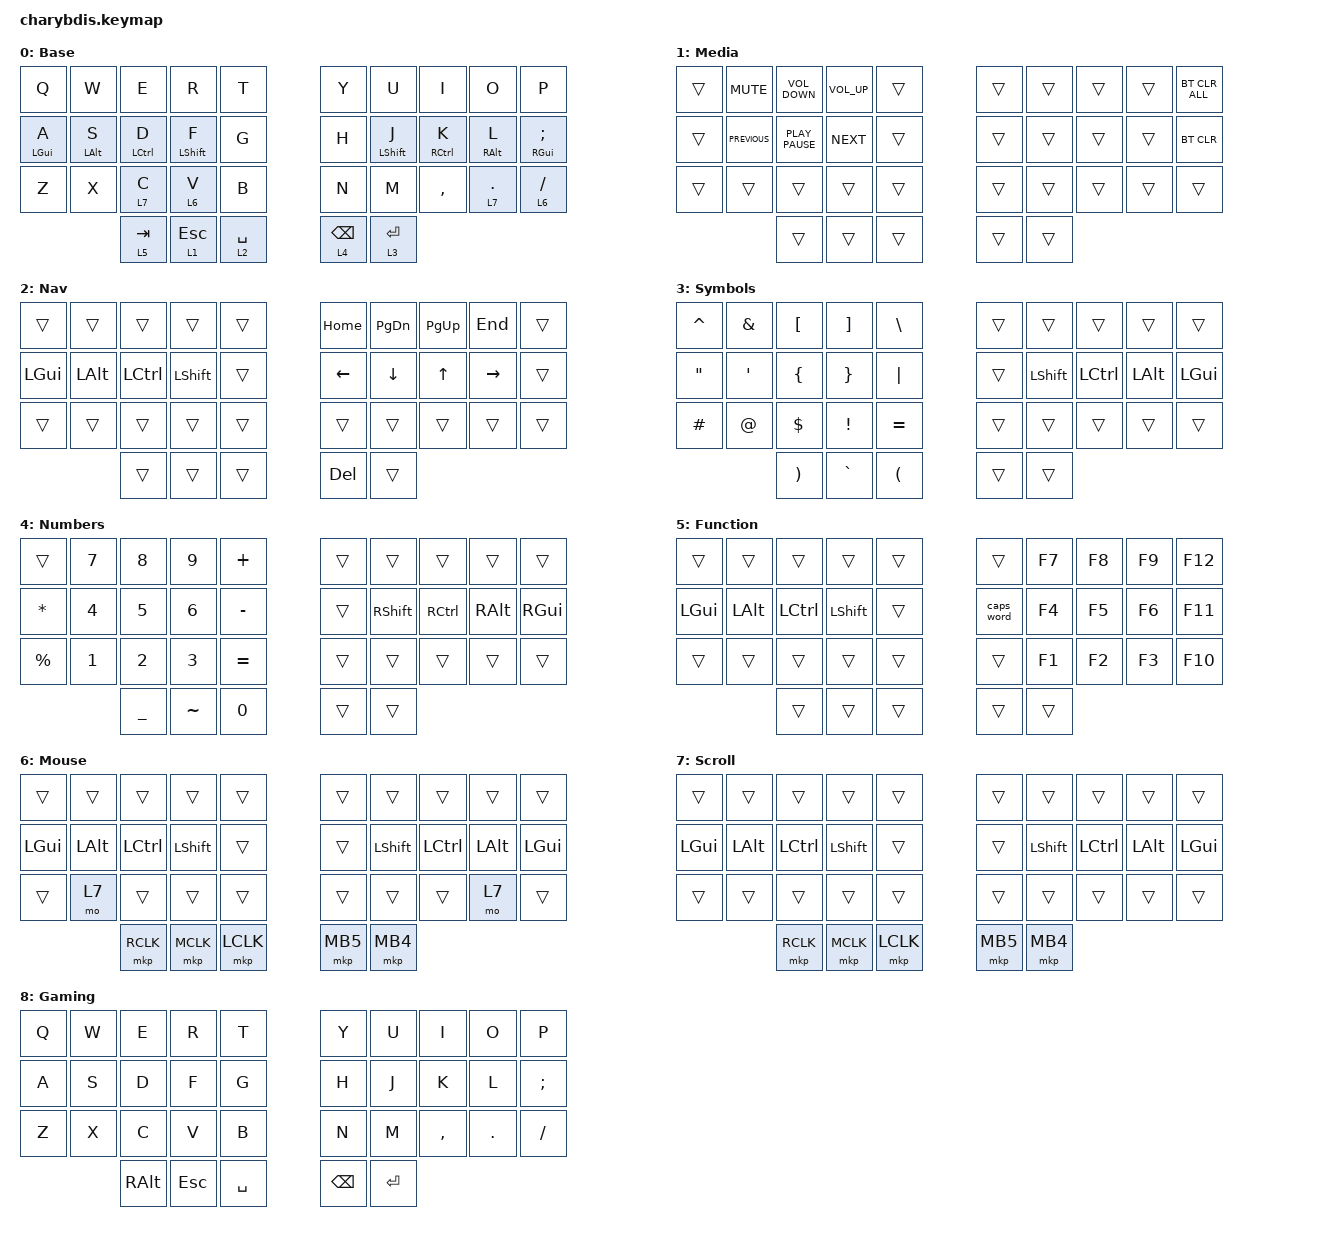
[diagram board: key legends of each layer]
#include <dt-bindings/zmk/mouse.h>
#include <behaviors/mouse_keys.dtsi>
#include <behaviors.dtsi>
#include <dt-bindings/zmk/bt.h>
#include <dt-bindings/zmk/keys.h>
#include <dt-bindings/zmk/pointing.h>

/ {
    chosen { zmk,physical-layout = &charybdis_6col_layout; };
};

&mt {
    quick-tap-ms = <200>;
    flavor = "tap-preferred";
    tapping-term-ms = <170>;
};

&lt {
    quick-tap-ms = <200>;
    flavor = "tap-preferred";
    tapping-term-ms = <170>;
};

// Layer definitions

#undef SYMBOLS
#undef SCROLL

#define BASE 0
#define MEDIA 1
#define NAV 2
#define SYMBOLS 3
#define NUMBERS 4
#define FUNCTION 5
#define MOUSE 6
#define SCROLL 7

/ {
    behaviors {
        // Hold-tap behavior for layer with tap-preferred

        blt: blt {
            compatible = "zmk,behavior-hold-tap";
            #binding-cells = <2>;
            flavor = "tap-preferred";
            tapping-term-ms = <200>;
            quick-tap-ms = <300>;
            require-prior-idle-ms = <100>;
            bindings = <&mo>, <&kp>;
        };

        // Tap-dance for GUI/Ctrl+B

        gui_ctrlb: gui_ctrlb {
            compatible = "zmk,behavior-tap-dance";
            #binding-cells = <0>;
            tapping-term-ms = <200>;
            bindings = <&kp LGUI>, <&kp LC(B)>;
        };

        // Tap/hold Alt, double-tap Ctrl+Shift+Z

        lalt_dt: lalt_dt {
            compatible = "zmk,behavior-tap-dance";
            #binding-cells = <0>;
            tapping-term-ms = <200>;
            bindings = <&kp LALT>, <&kp LC(LS(Z))>;
        };

        hml: home_row_mod_left {
            compatible = "zmk,behavior-hold-tap";
            #binding-cells = <2>;
            flavor = "balanced";
            require-prior-idle-ms = <150>;
            tapping-term-ms = <280>;
            quick-tap-ms = <175>;
            bindings = <&kp>, <&kp>;

            hold-trigger-key-positions = <5 6 7 8 9 15 16 17 18 19 25 26 27 28 29 33 34>;
            hold-trigger-on-release;
        };

        hmr: home_row_mod_right {
            compatible = "zmk,behavior-hold-tap";
            #binding-cells = <2>;
            flavor = "balanced";
            require-prior-idle-ms = <150>;
            tapping-term-ms = <280>;
            quick-tap-ms = <175>;
            bindings = <&kp>, <&kp>;

            hold-trigger-key-positions = <0 1 2 3 4 10 11 12 13 14 20 21 22 23 24 30 31 32>;
            hold-trigger-on-release;
        };
    };

    macros {
        // Ctrl+Alt+Cmd macro
        // Ctrl+Shift+Alt macro
        // Ctrl+Alt macro
        // Hold Ctrl+Cmd+Left Click while key is pressed (for mouse drag window actions)
    };

    combos {
        compatible = "zmk,combos";
        timeout-ms = <20>;
        require-prior-idle-ms = <250>;

        // Studio Unlock Combo - all three right thumb keys
        // Gaming layer toggle combo - keys 49, 55, 54

        Toggle-gaming {
            bindings = <&tog 8>;
            key-positions = <9 19 29>;
        };
    };

    keymap {
        compatible = "zmk,keymap";

        Base {
            label = "Base";
            display-name = "Base";
            bindings = <
  &kp Q            &kp W            &kp E         &kp R         &kp T          &kp Y            &kp U          &kp I         &kp O             &kp P
  &hml LEFT_GUI A  &hml LEFT_ALT S  &hml LCTRL D  &hml LSHFT F  &kp G          &kp H            &hmr LSHIFT J  &hmr RCTRL K  &hmr RIGHT_ALT L  &hmr RIGHT_GUI SEMI
  &kp Z            &kp X            &lt 7 C       &lt 6 V       &kp B          &kp N            &kp M          &kp COMMA     &lt 7 PERIOD      &lt 6 SLASH
                                    &lt 5 TAB     &lt 1 ESC     &lt 2 SPACE    &lt 4 BACKSPACE  &lt 3 ENTER
            >;
        };

        Media {
            bindings = <
  &trans  &kp K_MUTE      &kp K_VOLUME_DOWN  &kp K_VOLUME_UP  &trans    &trans  &trans  &trans  &trans  &bt BT_CLR_ALL
  &trans  &kp K_PREVIOUS  &kp K_PLAY_PAUSE   &kp K_NEXT       &trans    &trans  &trans  &trans  &trans  &bt BT_CLR
  &trans  &trans          &trans             &trans           &trans    &trans  &trans  &trans  &trans  &trans
                          &trans             &trans           &trans    &trans  &trans
            >;

            label = "Media";
        };

        Nav {
            bindings = <
  &trans        &trans        &trans            &trans          &trans    &kp HOME    &kp PG_DN  &kp PAGE_UP  &kp END    &trans
  &kp LEFT_GUI  &kp LEFT_ALT  &kp LEFT_CONTROL  &kp LEFT_SHIFT  &trans    &kp LEFT    &kp DOWN   &kp UP       &kp RIGHT  &trans
  &trans        &trans        &trans            &trans          &trans    &trans      &trans     &trans       &trans     &trans
                              &trans            &trans          &trans    &kp DELETE  &trans
            >;

            label = "Nav";
        };

        Syms {
            bindings = <
  &kp CARET          &kp AMPERSAND     &kp LEFT_BRACKET       &kp RIGHT_BRACKET  &kp BACKSLASH           &trans  &trans     &trans     &trans    &trans
  &kp DOUBLE_QUOTES  &kp SINGLE_QUOTE  &kp LEFT_BRACE         &kp RIGHT_BRACE    &kp PIPE                &trans  &kp LSHFT  &kp LCTRL  &kp LALT  &kp LGUI
  &kp HASH           &kp AT            &kp DOLLAR             &kp EXCL           &kp EQUAL               &trans  &trans     &trans     &trans    &trans
                                       &kp RIGHT_PARENTHESIS  &kp GRAVE          &kp LEFT_PARENTHESIS    &trans  &trans
            >;

            label = "Symbols";
        };

        Num {
            bindings = <
  &trans       &kp N7  &kp N8          &kp N9        &kp PLUS     &trans  &trans      &trans     &trans         &trans
  &kp ASTRK    &kp N4  &kp N5          &kp NUMBER_6  &kp MINUS    &trans  &kp RSHIFT  &kp RCTRL  &kp RIGHT_ALT  &kp RIGHT_GUI
  &kp PERCENT  &kp N1  &kp N2          &kp N3        &kp EQUAL    &trans  &trans      &trans     &trans         &trans
                       &kp UNDERSCORE  &kp TILDE     &kp N0       &trans  &trans
            >;

            label = "Numbers";
        };

        Func {
            bindings = <
  &trans    &trans    &trans     &trans     &trans    &trans      &kp F7  &kp F8  &kp F9  &kp F12
  &kp LGUI  &kp LALT  &kp LCTRL  &kp LSHFT  &trans    &caps_word  &kp F4  &kp F5  &kp F6  &kp F11
  &trans    &trans    &trans     &trans     &trans    &trans      &kp F1  &kp F2  &kp F3  &kp F10
                      &trans     &trans     &trans    &trans      &trans
            >;

            label = "Function";
        };

        Mouse {
            bindings = <
  &trans    &trans    &trans     &trans     &trans       &trans    &trans     &trans     &trans    &trans
  &kp LGUI  &kp LALT  &kp LCTRL  &kp LSHFT  &trans       &trans    &kp LSHFT  &kp LCTRL  &kp LALT  &kp LGUI
  &trans    &mo 7     &trans     &trans     &trans       &trans    &trans     &trans     &mo 7     &trans
                      &mkp RCLK  &mkp MCLK  &mkp LCLK    &mkp MB5  &mkp MB4
            >;

            label = "Mouse";
        };

        SCROLL {
            label = "Scroll";
            bindings = <
  &trans    &trans    &trans     &trans     &trans       &trans    &trans     &trans     &trans    &trans
  &kp LGUI  &kp LALT  &kp LCTRL  &kp LSHFT  &trans       &trans    &kp LSHFT  &kp LCTRL  &kp LALT  &kp LGUI
  &trans    &trans    &trans     &trans     &trans       &trans    &trans     &trans     &trans    &trans
                      &mkp RCLK  &mkp MCLK  &mkp LCLK    &mkp MB5  &mkp MB4
            >;
        };

        Gaming {
            bindings = <
  &kp Q  &kp W  &kp E     &kp R    &kp T        &kp Y     &kp U    &kp I      &kp O    &kp P
  &kp A  &kp S  &kp D     &kp F    &kp G        &kp H     &kp J    &kp K      &kp L    &kp SEMI
  &kp Z  &kp X  &kp C     &kp V    &kp B        &kp N     &kp M    &kp COMMA  &kp DOT  &kp FSLH
                &kp RALT  &kp ESC  &kp SPACE    &kp BSPC  &kp RET
            >;

            label = "Gaming";
        };
    };
};
